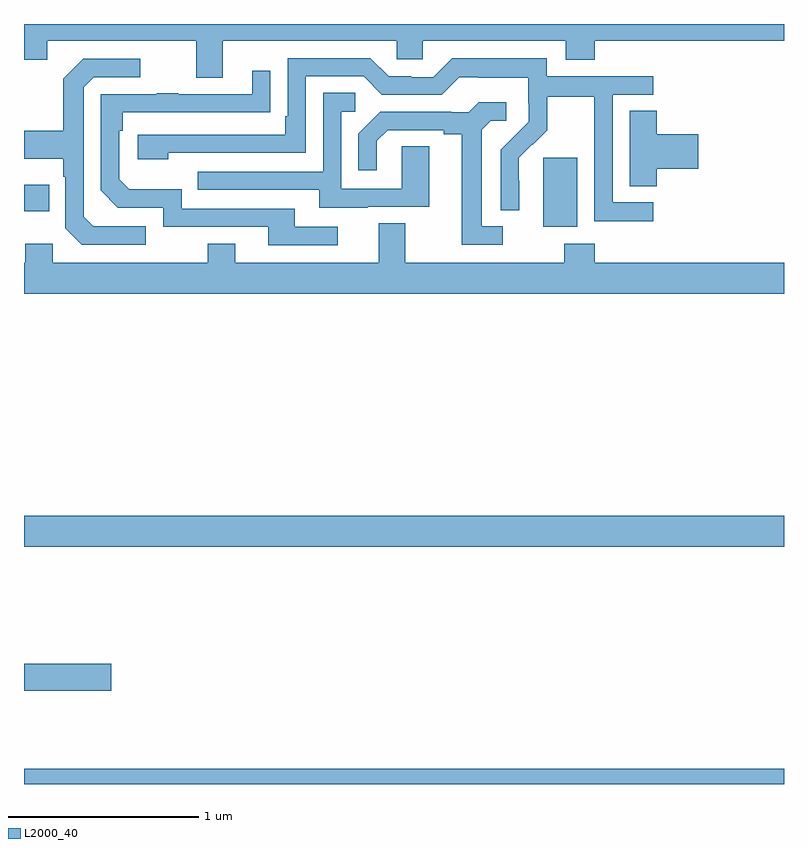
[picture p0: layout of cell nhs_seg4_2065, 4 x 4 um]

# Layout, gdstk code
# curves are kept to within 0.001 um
import gdstk
lib = gdstk.Library(unit=1e-6, precision=1e-09)
def R(c, l, rs):  # rectangles x0, y0, x1, y1
    for r in rs: c.add(gdstk.rectangle(r[:2], r[2:], *l))
def P(c, l, *ps):  # polygons
    for p in ps: c.add(gdstk.Polygon(p, *l))
L2000_40 = (2000, 40)

nhs_seg4_2065 = lib.new_cell('nhs_seg4_2065')
R(nhs_seg4_2065, L2000_40, [(217,800.9,221,800.98), (217,801.391,217.459,801.533), (217,802.148,221,802.312), (219.734,803.834,219.913,804.195), (217,803.915,217.133,804.055)])
P(nhs_seg4_2065, L2000_40, [(218.047,804.812),(218.961,804.812),(218.961,804.714),(219.099,804.714),(219.099,804.812),(219.851,804.812),(219.851,804.713),(220.004,804.713),(220.004,804.812),(221,804.812),(221,804.9),(217,804.9),(217,804.713),(217.123,804.713),(217.123,804.812),(217.907,804.812),(217.907,804.618),(218.047,804.618)],
  [(220.312,803.961),(220.098,803.961),(220.098,804.528),(220.312,804.528),(220.312,804.624),(219.75,804.624),(219.75,804.721),(219.253,804.721),(219.153,804.621),(219.038,804.621),(219.038,804.624),(218.919,804.624),(218.823,804.72),(218.388,804.72),(218.388,804.415),(218.375,804.415),(218.375,804.318),(217.599,804.318),(217.599,804.188),(217.76,804.188),(217.76,804.222),(218.484,804.222),(218.484,804.624),(218.787,804.624),(218.883,804.528),(219.198,804.528),(219.291,804.621),(219.391,804.621),(219.391,804.617),(219.654,804.617),(219.654,804.483),(219.656,804.483),(219.656,804.386),(219.51,804.238),(219.51,803.92),(219.606,803.92),(219.605,804.197),(219.675,804.267),(219.678,804.264),(219.755,804.341),(219.755,804.516),(220,804.516),(220,804.292),(220.002,804.292),(220.002,803.863),(220.312,803.863)],
  [(217.642,803.835),(217.365,803.835),(217.314,803.886),(217.314,804.567),(217.368,804.621),(217.612,804.621),(217.612,804.717),(217.311,804.717),(217.206,804.611),(217.206,804.339),(217,804.339),(217,804.191),(217.206,804.191),(217.206,804.095),(217.218,804.095),(217.218,803.826),(217.305,803.739),(217.642,803.739)],
  [(218.65,803.832),(218.425,803.832),(218.425,803.928),(217.83,803.928),(217.83,804.031),(217.553,804.031),(217.5,804.084),(217.5,804.338),(217.52,804.338),(217.52,804.435),(218.297,804.436),(218.297,804.655),(218.201,804.655),(218.201,804.531),(217.811,804.531),(217.811,804.536),(217.699,804.536),(217.699,804.531),(217.404,804.531),(217.404,804.024),(217.494,803.934),(217.734,803.934),(217.734,803.832),(218.285,803.832),(218.285,803.736),(218.65,803.736)],
  [(218.809,803.937),(219.133,803.937),(219.133,804.257),(218.988,804.257),(218.988,804.033),(218.67,804.033),(218.67,804.438),(218.743,804.438),(218.743,804.539),(218.574,804.539),(218.574,804.123),(217.915,804.123),(217.915,804.027),(218.555,804.027),(218.555,803.933),(218.809,803.933)],
  [(219.52,803.835),(219.409,803.835),(219.409,804.343),(219.456,804.39),(219.538,804.39),(219.538,804.487),(219.394,804.487),(219.342,804.435),(219.248,804.435),(219.248,804.438),(218.876,804.438),(218.76,804.322),(218.76,804.129),(218.857,804.129),(218.857,804.285),(218.914,804.342),(219.209,804.342),(219.209,804.32),(219.305,804.32),(219.305,803.739),(219.52,803.739)],
  [(220.331,804.137),(220.549,804.137),(220.549,804.32),(220.331,804.32),(220.331,804.443),(220.187,804.443),(220.187,804.046),(220.331,804.046)],
  [(221,803.644),(220.004,803.644),(220.004,803.743),(219.844,803.743),(219.844,803.644),(219.007,803.644),(219.007,803.852),(218.867,803.852),(218.867,803.644),(218.113,803.644),(218.113,803.743),(217.966,803.743),(217.966,803.644),(217.152,803.644),(217.152,803.743),(217.006,803.743),(217.006,803.644),(217,803.644),(217,803.48),(221,803.48)])

lib.write_gds('nhs_seg4_2065.gds')
